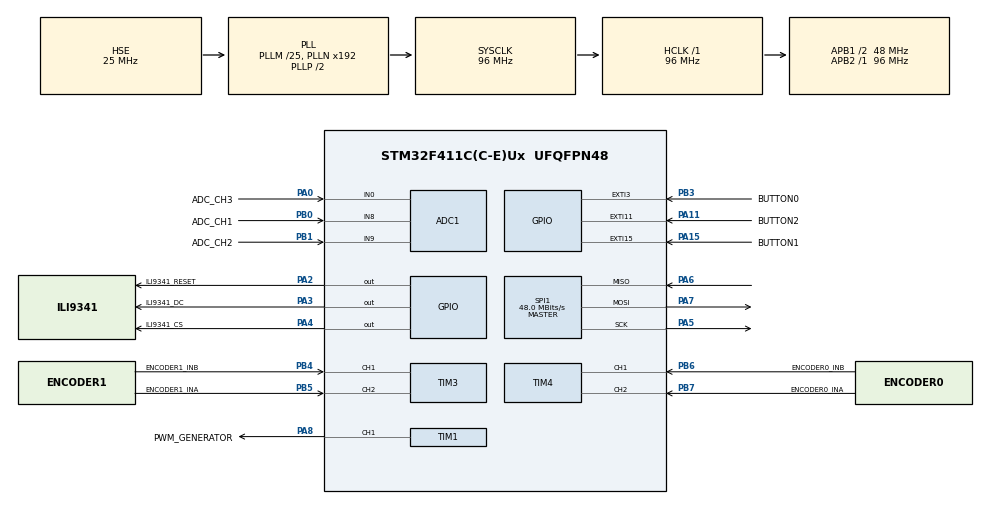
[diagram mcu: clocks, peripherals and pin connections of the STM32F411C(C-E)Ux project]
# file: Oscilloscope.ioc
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ADC1.Channel-1\#ChannelRegularConversion=ADC_CHANNEL_8
ADC1.Channel-2\#ChannelRegularConversion=ADC_CHANNEL_9
ADC1.Channel-3\#ChannelRegularConversion=ADC_CHANNEL_0
ADC1.ClockPrescaler=ADC_CLOCK_SYNC_PCLK_DIV4
ADC1.ContinuousConvMode=DISABLE
ADC1.NbrOfConversion=3
ADC1.NbrOfConversionFlag=1
ADC1.Rank-1\#ChannelRegularConversion=1
ADC1.Rank-2\#ChannelRegularConversion=2
ADC1.Rank-3\#ChannelRegularConversion=3
ADC1.SamplingTime-1\#ChannelRegularConversion=ADC_SAMPLETIME_3CYCLES
ADC1.SamplingTime-2\#ChannelRegularConversion=ADC_SAMPLETIME_3CYCLES
ADC1.SamplingTime-3\#ChannelRegularConversion=ADC_SAMPLETIME_3CYCLES
ADC1.ScanConvMode=ENABLE
ADC1.master=1
Dma.ADC1.0.Direction=DMA_PERIPH_TO_MEMORY
Dma.ADC1.0.FIFOMode=DMA_FIFOMODE_DISABLE
Dma.ADC1.0.Instance=DMA2_Stream0
Dma.ADC1.0.MemDataAlignment=DMA_MDATAALIGN_HALFWORD
Dma.ADC1.0.MemInc=DMA_MINC_ENABLE
Dma.ADC1.0.Mode=DMA_NORMAL
Dma.ADC1.0.PeriphDataAlignment=DMA_PDATAALIGN_HALFWORD
Dma.ADC1.0.PeriphInc=DMA_PINC_DISABLE
Dma.ADC1.0.Priority=DMA_PRIORITY_VERY_HIGH
Dma.Request0=ADC1
Mcu.Family=STM32F4
Mcu.Name=STM32F411C(C-E)Ux
Mcu.Package=UFQFPN48
NVIC.DMA2_Stream0_IRQn=true\:0\:0\:false\:false\:true\:false\:true\:true
NVIC.EXTI15_10_IRQn=true\:0\:0\:false\:false\:true\:true\:true\:true
NVIC.EXTI3_IRQn=true\:0\:0\:false\:false\:true\:true\:true\:true
NVIC.PriorityGroup=NVIC_PRIORITYGROUP_4
NVIC.TIM1_UP_TIM10_IRQn=true\:0\:0\:false\:false\:true\:true\:true\:true
PA0-WKUP.GPIO_Label=ADC_CH3
PA0-WKUP.Signal=ADCx_IN0
PA11.GPIO_Label=BUTTON2
PA11.GPIO_ModeDefaultEXTI=GPIO_MODE_IT_FALLING
PA11.GPIO_PuPd=GPIO_PULLUP
PA11.Signal=GPXTI11
PA15.GPIO_Label=BUTTON1
PA15.GPIO_ModeDefaultEXTI=GPIO_MODE_IT_FALLING
PA15.GPIO_PuPd=GPIO_PULLUP
PA15.Signal=GPXTI15
PA2.GPIO_Label=ILI9341_RESET
PA2.GPIO_Speed=GPIO_SPEED_FREQ_VERY_HIGH
PA2.Signal=GPIO_Output
PA3.GPIO_Label=ILI9341_DC
PA3.GPIO_Speed=GPIO_SPEED_FREQ_VERY_HIGH
PA3.Signal=GPIO_Output
PA4.GPIO_Label=ILI9341_CS
PA4.GPIO_Speed=GPIO_SPEED_FREQ_VERY_HIGH
PA4.Signal=GPIO_Output
PA5.Mode=Full_Duplex_Master
PA5.Signal=SPI1_SCK
PA6.Mode=Full_Duplex_Master
PA6.Signal=SPI1_MISO
PA7.Mode=Full_Duplex_Master
PA7.Signal=SPI1_MOSI
PA8.GPIO_Label=PWM_GENERATOR
PA8.GPIO_Speed=GPIO_SPEED_FREQ_VERY_HIGH
PA8.Signal=S_TIM1_CH1
PB0.GPIO_Label=ADC_CH1
PB0.Signal=ADCx_IN8
PB1.GPIO_Label=ADC_CH2
PB1.Signal=ADCx_IN9
PB3.GPIO_Label=BUTTON0
PB3.GPIO_ModeDefaultEXTI=GPIO_MODE_IT_FALLING
PB3.GPIO_PuPd=GPIO_PULLUP
PB3.Signal=GPXTI3
PB4.GPIO_Label=ENCODER1_INB
PB4.GPIO_PuPd=GPIO_PULLUP
PB4.Signal=S_TIM3_CH1
PB5.GPIO_Label=ENCODER1_INA
PB5.GPIO_PuPd=GPIO_PULLUP
PB5.Signal=S_TIM3_CH2
PB6.GPIO_Label=ENCODER0_INB
PB6.GPIO_PuPd=GPIO_PULLUP
PB6.Signal=S_TIM4_CH1
PB7.GPIO_Label=ENCODER0_INA
PB7.GPIO_PuPd=GPIO_PULLUP
PB7.Signal=S_TIM4_CH2
PC14-OSC32_IN.Mode=LSE-External-Oscillator
PC14-OSC32_IN.Signal=RCC_OSC32_IN
PC15-OSC32_OUT.Mode=LSE-External-Oscillator
PC15-OSC32_OUT.Signal=RCC_OSC32_OUT
PH0\ -\ OSC_IN.Mode=HSE-External-Oscillator
PH0\ -\ OSC_IN.Signal=RCC_OSC_IN
PH1\ -\ OSC_OUT.Mode=HSE-External-Oscillator
PH1\ -\ OSC_OUT.Signal=RCC_OSC_OUT
ProjectManager.HeapSize=0x200
ProjectManager.StackSize=0x400
ProjectManager.TargetToolchain=STM32CubeIDE
RCC.48MHZClocksFreq_Value=48000000
RCC.AHBFreq_Value=96000000
RCC.APB1CLKDivider=RCC_HCLK_DIV2
RCC.APB1Freq_Value=48000000
RCC.APB1TimFreq_Value=96000000
RCC.APB2Freq_Value=96000000
RCC.APB2TimFreq_Value=96000000
RCC.CortexFreq_Value=96000000
RCC.HCLKFreq_Value=96000000
RCC.HSE_VALUE=25000000
RCC.HSI_VALUE=16000000
RCC.PLLM=25
RCC.PLLSourceVirtual=RCC_PLLSOURCE_HSE
RCC.SYSCLKFreq_VALUE=96000000
RCC.SYSCLKSource=RCC_SYSCLKSOURCE_PLLCLK
RCC.VCOOutputFreq_Value=192000000
SH.ADCx_IN0.0=ADC1_IN0,IN0
SH.ADCx_IN8.0=ADC1_IN8,IN8
SH.ADCx_IN9.0=ADC1_IN9,IN9
SH.S_TIM1_CH1.0=TIM1_CH1,PWM Generation1 CH1
SH.S_TIM3_CH1.0=TIM3_CH1,Encoder_Interface
SH.S_TIM3_CH2.0=TIM3_CH2,Encoder_Interface
SH.S_TIM4_CH1.0=TIM4_CH1,Encoder_Interface
SH.S_TIM4_CH2.0=TIM4_CH2,Encoder_Interface
SPI1.CalculateBaudRate=48.0 MBits/s
SPI1.Direction=SPI_DIRECTION_2LINES
SPI1.Mode=SPI_MODE_MASTER
SPI1.VirtualType=VM_MASTER
TIM1.Channel-PWM\ Generation1\ CH1=TIM_CHANNEL_1
TIM1.Period=999
TIM1.Prescaler=95
TIM1.Pulse-PWM\ Generation1\ CH1=500
TIM10.Period=287
VP_TIM10_VS_ClockSourceINT.Mode=Enable_Timer
board=custom

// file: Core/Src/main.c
/* USER CODE BEGIN Header */
/**
  ******************************************************************************
  * @file           : main.c
  * @brief          : Main program body
  ******************************************************************************
  * @attention
  *
  * Copyright (c) 2023 STMicroelectronics.
  * All rights reserved.
  *
  * This software is licensed under terms that can be found in the LICENSE file
  * in the root directory of this software component.
  * If no LICENSE file comes with this software, it is provided AS-IS.
  *
  ******************************************************************************
  */
/* USER CODE END Header */
#include "main.h"

/* USER CODE BEGIN Includes */
#include <stdio.h>
#include "ili9341.h"
/* USER CODE END Includes */

/* USER CODE BEGIN PD */
#define DWT_CONTROL *(volatile unsigned long *)0xE0001000
#define SCB_DEMCR   *(volatile unsigned long *)0xE000EDFC
/* USER CODE END PD */

ADC_HandleTypeDef hadc1;
DMA_HandleTypeDef hdma_adc1;

SPI_HandleTypeDef hspi1;

TIM_HandleTypeDef htim1;
TIM_HandleTypeDef htim3;
TIM_HandleTypeDef htim4;
TIM_HandleTypeDef htim10;

/* USER CODE BEGIN PV */
ILI9341TypeDef display;

volatile uint16_t adc_data[3] = { 0 };
volatile uint32_t adc0_length = 0;
volatile uint32_t adc1_length = 0;
volatile uint8_t  adc0_filled = 0;
volatile uint8_t  adc1_filled = 1;
volatile uint8_t  adc_available = 1;
volatile uint8_t  adc_reset_cyccnt = 1;

volatile uint16_t adc_max[2]    = {  0 };
volatile uint16_t adc_min[2]    = { -1 };
volatile uint32_t adc_period[2] = {  0 };
volatile uint8_t  adc_period0_detected = 0;
volatile uint8_t  adc_period1_detected = 0;

uint32_t adc0_time[ADC_BUFFER_SIZE];
uint32_t adc1_time[ADC_BUFFER_SIZE];
uint16_t adc0[ADC_BUFFER_SIZE];
uint16_t adc1[ADC_BUFFER_SIZE];
uint8_t  adc_immediate = 1;

uint32_t xlim_us = 200;
uint32_t ylim_uV = 1000000;

uint16_t cursor0 = 120;
uint16_t cursor1 = 196;

uint16_t trigger0 = 70;
uint16_t trigger1 = 146;

uint8_t  trigger_mode   = 0;
uint16_t trigger0_value = 2048;
uint16_t trigger1_value = 2048;

uint8_t event_adc      = 0;
uint8_t event_axis     = 1;
uint8_t event_mode     = 1;
uint8_t event_cursor   = 1;
uint8_t event_trigger  = 1;
uint8_t event_channel  = 1;
uint8_t event_seconds  = 1;
uint8_t event_voltage  = 1;
uint8_t event_button0  = 0;
uint8_t event_button1  = 0;
uint8_t event_button2  = 0;
uint8_t event_selector = 1;
uint8_t event_trigger_mode = 1;
uint8_t event_trigger0_detected = 1;
uint8_t event_trigger1_detected = 1;
/* USER CODE END PV */

void SystemClock_Config(void);
static void MX_GPIO_Init(void);
static void MX_DMA_Init(void);
static void MX_SPI1_Init(void);
static void MX_TIM3_Init(void);
static void MX_TIM4_Init(void);
static void MX_ADC1_Init(void);
static void MX_TIM1_Init(void);
static void MX_TIM10_Init(void);
/* USER CODE BEGIN PFP */
static void drawAxis(ILI9341TypeDef *display);
static void clearCursor(ILI9341TypeDef *display, uint16_t pos);
static void clearTrigger(ILI9341TypeDef *display, uint16_t pos);
static void drawCursor(ILI9341TypeDef *display, uint16_t pos, char *name, uint16_t color);
static void drawTrigger(ILI9341TypeDef *display, uint16_t pos, char *name, uint16_t color);
static void drawSignal(ILI9341TypeDef *display, uint32_t *adc_time, uint16_t *adc0, uint32_t adc_length, uint16_t pixel_dirty[280][2], uint16_t cursor, uint16_t color);
static void clearSignal(ILI9341TypeDef *display, uint16_t pixel_dirty[280][2]);
static void drawSignalParam(ILI9341TypeDef *display, char *string, size_t size, uint16_t adc_max, uint16_t adc_min, uint32_t adc_period);
/* USER CODE END PFP */

int main(void)
{

  /* MCU Configuration--------------------------------------------------------*/

  /* Reset of all peripherals, Initializes the Flash interface and the Systick. */
  HAL_Init();

  /* Configure the system clock */
  SystemClock_Config();

  /* Initialize all configured peripherals */
  MX_GPIO_Init();
  MX_DMA_Init();
  MX_SPI1_Init();
  MX_TIM3_Init();
  MX_TIM4_Init();
  MX_ADC1_Init();
  MX_TIM1_Init();
  MX_TIM10_Init();
  /* USER CODE BEGIN 2 */

  // For DWT->CYCCNT ...
  SCB_DEMCR |= CoreDebug_DEMCR_TRCENA_Msk;
  DWT_CONTROL |= DWT_CTRL_CYCCNTENA_Msk;

  // Display init
  display.spi             = &hspi1;
  display.cs_gpio_port    = ILI9341_CS_GPIO_Port;
  display.dc_gpio_port    = ILI9341_DC_GPIO_Port;
  display.reset_gpio_port = ILI9341_RESET_GPIO_Port;
  display.cs_pin          = ILI9341_CS_Pin;
  display.dc_pin          = ILI9341_DC_Pin;
  display.reset_pin       = ILI9341_RESET_Pin;
  display.width           = 320;
  display.height          = 240;
  display.orientation     = ILI9341_ORIENTATION_ROTATE_RIGHT;

  ILI9341_UNSELECT(&display);
  ILI9341_Init(&display);

  // Local vars
  char string[255];

  uint8_t  menu_extended         = 0;
  uint8_t  menu_channel0_enabled = 1;
  uint8_t  menu_channel1_enabled = 0;
  int8_t   menu_selected_item    = 2;
  uint16_t menu_selector_x       = 96;
  uint16_t menu_selector_y       = 3;

  uint8_t  mode = 0;
  uint8_t  mode_seconds = 5;
  uint8_t  mode_voltage = 6;

  uint16_t encoder0_prev = 0;
  uint16_t encoder1_prev = 0;

  uint8_t  frames = 0;
  uint32_t frames_ticks = HAL_GetTick();

  uint16_t pixel_dirty0[280][2];
  uint16_t pixel_dirty1[280][2];
  for (uint16_t i = 0; i < 280; i++) {
	  pixel_dirty0[i][0] = 0;
	  pixel_dirty0[i][1] = 0;
	  pixel_dirty1[i][0] = 0;
	  pixel_dirty1[i][1] = 0;
  }

  // Dispaly freq. (for debug)
  ILI9341_FillScreen(&display, ILI9341_BLACK);

  snprintf(string, 255, "Oscilloscope");
  ILI9341_WriteString(&display, 0, 18 * 0, string, Font_11x18, ILI9341_BLACK, ILI9341_WHITE);

  snprintf(string, 255, "SYCLK = %ldMHz", HAL_RCC_GetSysClockFreq()/1000000);
  ILI9341_WriteString(&display, 0, 18 * 1, string, Font_11x18, ILI9341_BLACK, ILI9341_WHITE);

  snprintf(string, 255, "HCLK  = %ldMHz", HAL_RCC_GetHCLKFreq()/1000000);
  ILI9341_WriteString(&display, 0, 18 * 2, string, Font_11x18, ILI9341_BLACK, ILI9341_WHITE);

  snprintf(string, 255, "APB1  = %ldMHz", HAL_RCC_GetPCLK1Freq()/1000000);
  ILI9341_WriteString(&display, 0, 18 * 3, string, Font_11x18, ILI9341_BLACK, ILI9341_WHITE);

  snprintf(string, 255, "APB2  = %ldMHz", HAL_RCC_GetPCLK2Freq()/1000000);
  ILI9341_WriteString(&display, 0, 18 * 4, string, Font_11x18, ILI9341_BLACK, ILI9341_WHITE);

  HAL_Delay(1000);
  ILI9341_FillScreen(&display, ILI9341_BLACK);

  adc_reset_cyccnt = 1;
  if (adc_immediate) {
	  // The ADC starts immediately after the previous measurement is handled
	  HAL_ADC_Start_DMA(&hadc1, (uint32_t*)&adc_data, 2);
  } else {
	  // ADC starts by timer
	  HAL_TIM_Base_Start_IT(&htim10);
  }

  /* USER CODE END 2 */

  /* Infinite loop */
  /* USER CODE BEGIN WHILE */
  while (1)
  {
	// Draw axis
	if (event_axis) {
		drawAxis(&display);
		event_axis = 0;
	}

	uint8_t local_event_adc = 0;
	if (event_adc) {
		local_event_adc = 1;
		event_adc = 0;
	}

	// Draw signals
	if (local_event_adc) {

		if (menu_channel0_enabled)
			drawSignal(&display, adc0_time, adc0, adc0_length, pixel_dirty0, cursor0, ILI9341_YELLOW);

		if (menu_channel1_enabled)
			drawSignal(&display, adc1_time, adc1, adc1_length, pixel_dirty1, cursor1, ILI9341_CYAN);

	}

	// Draw FPS
	if (frames > 60) {
		snprintf(string, 255, "FPS: %5i", (int)(1000.0f / ((float)(HAL_GetTick() - frames_ticks) / 60.0f)));
		ILI9341_WriteString(&display, 225, 5, string, Font_7x10, ILI9341_WHITE, ILI9341_BLACK);

		frames = 0;
		frames_ticks = HAL_GetTick();
	}

	// Handle button events
	if (event_button0) {

		if (!menu_extended) {
			ILI9341_Rectangle(&display, menu_selector_x, menu_selector_y, 38, 13, ILI9341_BLACK);

			menu_selected_item++;

			if (menu_selected_item > 3)
				menu_selected_item = 2;

			menu_selector_x = 20 + 38 * menu_selected_item;
			menu_selector_y = 3;

			event_selector = 1;
		}

		event_button0 = 0;
	}

	if (event_button1) {
		menu_extended = !menu_extended;

		if (!menu_extended) {
			ILI9341_Rectangle(&display, menu_selector_x, menu_selector_y, 38, 13, ILI9341_BLACK);

			menu_selected_item = 2;

			menu_selector_x = 20 + 38 * menu_selected_item;
			menu_selector_y = 3;

			mode = 0;
			event_selector = 1;
		} else
			mode = 1;

		event_mode = 1;
		event_button1 = 0;
	}

	if (event_button2) {
		if (menu_selected_item == 2) {
			menu_channel0_enabled = !menu_channel0_enabled;

			if (!menu_channel0_enabled)
				clearSignal(&display, pixel_dirty0);
		}

		if (menu_selected_item == 3) {
			menu_channel1_enabled = !menu_channel1_enabled;

			if (!menu_channel1_enabled)
				clearSignal(&display, pixel_dirty1);
		}

		event_cursor  = 1;
		event_trigger = 1;
		event_channel = 1;
		event_button2 = 0;
	}

	// Handle UI redraw channel events
	if (event_channel) {
		uint16_t channel0_color = menu_channel0_enabled ? ILI9341_YELLOW  : ILI9341_COLOR565(60, 60, 0);
		uint16_t channel1_color = menu_channel1_enabled ? ILI9341_CYAN    : ILI9341_COLOR565(0, 60, 60);

		ILI9341_WriteString(&display, 110 - 12, 5, " CH1 ", Font_7x10, ILI9341_BLACK, channel0_color);
		ILI9341_WriteString(&display, 148 - 12, 5, " CH2 ", Font_7x10, ILI9341_BLACK, channel1_color);

		event_channel = 0;
	}

	// Handle encoder0
	int32_t encoder0_curr = __HAL_TIM_GET_COUNTER(&htim3);
	encoder0_curr = 32767 - ((encoder0_curr - 1) & 0xFFFF) / 2;

	if(encoder0_curr != encoder0_prev) {
		int32_t delta = encoder0_curr - encoder0_prev;

		if (delta > 10)
			delta = -1;

		if (delta < -10)
			delta = 1;

		if (menu_extended) {
			ILI9341_Rectangle(&display, menu_selector_x, menu_selector_y, 38, 13, ILI9341_BLACK);

			menu_selected_item += delta;

			if (menu_selected_item < 0)
				menu_selected_item = 0;

			if (menu_selected_item > 5)
				menu_selected_item = 5;

			if (menu_selected_item < 4) {
				menu_selector_x = 20 + 38 * menu_selected_item;
				menu_selector_y = 3;
			} else {
				menu_selector_x = 20 + 38 * (menu_selected_item - 4);
				menu_selector_y = 223;
			}

			event_selector = 1;

		} else {

			if (menu_selected_item == 2) {
				clearCursor(&display, cursor0);
				cursor0 += delta;

				if (cursor0 < 20)
					cursor0 = 20;

				if (cursor0 > 220)
					cursor0 = 220;
			}

			if (menu_selected_item == 3) {
				clearCursor(&display, cursor1);
				cursor1 += delta;

				if (cursor1 < 20)
					cursor1 = 20;

				if (cursor1 > 220)
					cursor1 = 220;
			}

		}

		event_cursor = 1;
		event_trigger = 1;
		encoder0_prev = encoder0_curr;
	}

	// Handle UI redraw cursor events
	if (event_cursor) {
		clearCursor(&display, cursor0);
		clearCursor(&display, cursor1);

		if (menu_channel0_enabled)
			drawCursor(&display, cursor0, "C1", ILI9341_YELLOW);

		if (menu_channel1_enabled)
			drawCursor(&display, cursor1, "C2", ILI9341_CYAN);

		event_cursor = 0;
	}

	// Handle encoder1
	int32_t encoder1_curr = __HAL_TIM_GET_COUNTER(&htim4);
	encoder1_curr = 32767 - ((encoder1_curr - 1) & 0xFFFF) / 2;

	if(encoder1_curr != encoder1_prev || event_trigger) {
		int32_t delta = encoder1_curr - encoder1_prev;

		if (delta > 10)
			delta = -1;

		if (delta < -10)
			delta = 1;

		if (menu_extended) {

			if (menu_selected_item == 1) {
				trigger_mode += delta;

				if (trigger_mode < 0)
					trigger_mode = 0;

				if (trigger_mode > 1)
					trigger_mode = 1;

				event_trigger_mode = 1;
			}

			if (menu_selected_item == 4) {
				mode_seconds += delta;

				if (mode_seconds < 0)
					mode_seconds = 0;

				if (mode_seconds > 16)
					mode_seconds = 16;

				uint32_t list_seconds[17] = {
					5,
					10,
					20,
					50,
					100,
					200,
					500,
					1000,
					2000,
					5000,
					10000,
					20000,
					50000,
					100000,
					200000,
					500000,
					1000000
				};

				xlim_us = list_seconds[mode_seconds];

				if (adc_immediate) {
					HAL_TIM_Base_Stop_IT(&htim10);
					adc_available = 1;
				}

				HAL_ADC_Stop_DMA(&hadc1);

				adc_reset_cyccnt = 1;
				adc0_length = 0;
				adc1_length = 0;
				adc_max[0] = 0;
				adc_max[1] = 0;
				adc_min[0] = -1;
				adc_min[1] = -1;
				adc_period[0] = 0;
				adc_period[1] = 0;
				adc_period0_detected = 0;
				adc_period1_detected = 0;
				event_trigger0_detected = 0;
				event_trigger1_detected = 0;

				if (menu_channel0_enabled)
					adc0_filled = 0;
				else
					adc0_filled = 1;

				if (menu_channel1_enabled)
					adc1_filled = 0;
				else
					adc1_filled = 1;

				adc_immediate = xlim_us <= 500;

				if (!adc_immediate) {
					uint32_t list_timer_settings[17][2] = {
					//  { Prescaler, Period }
						{     0,   0 },
						{     0,   0 },
						{     0,   0 },
						{     0,   0 },
						{     0,   0 },
						{     0,   0 },
						{     0,   0 },
						{    40, 100 },
						{    81, 100 },
						{   205, 100 },
						{   410, 100 },
						{   822, 100 },
						{  2056, 100 },
						{  4113, 100 },
						{  8228, 100 },
						{ 20570, 100 },
						{ 41142, 100 }
					};

					htim10.Init.Prescaler = list_timer_settings[mode_seconds][0];
					htim10.Init.Period    = list_timer_settings[mode_seconds][1];

					if (HAL_TIM_Base_Init(&htim10) != HAL_OK)
						Error_Handler();

					HAL_TIM_Base_Start_IT(&htim10);
				} else
					HAL_ADC_Start_DMA(&hadc1, (uint32_t*)&adc_data, 2);

				local_event_adc = 0;
				event_seconds = 1;
			}

			if (menu_selected_item == 5) {
				mode_voltage += delta;

				if (mode_voltage < 0)
					mode_voltage = 0;

				if (mode_voltage > 9)
					mode_voltage = 9;

				uint32_t list_voltage[10] = {
					10000,
					20000,
					50000,
					100000,
					200000,
					500000,
					1000000,
					2000000,
					5000000,
					10000000
				};

				ylim_uV = list_voltage[mode_voltage];

				event_voltage = 1;
			}

		} else {

			if (menu_selected_item == 2) {
				clearTrigger(&display, trigger0);
				trigger0 += delta;

				if (trigger0 < 20)
					trigger0 = 20;

				if (trigger0 > 220)
					trigger0 = 220;

				if (trigger0 > cursor0)
					trigger0 = cursor0;

				float uV = -((float)(ylim_uV) * ((8.0f * (trigger0 - cursor0)) / 200.0f));
				trigger0_value = uV * 4096.0f / 3300000.0f;
			}

			if (menu_selected_item == 3) {
				clearTrigger(&display, trigger1);
				trigger1 += delta;

				if (trigger1 < 20)
					trigger1 = 20;

				if (trigger1 > 220)
					trigger1 = 220;

				if (trigger1 > cursor1)
					trigger1 = cursor1;

				float uV = -((float)(ylim_uV) * ((8.0f * (trigger1 - cursor1)) / 200.0f));
				trigger1_value = uV * 4096.0f / 3300000.0f;
			}

		}

		event_trigger = 1;
		encoder1_prev = encoder1_curr;
	}

	// Handle UI redraw trigger events
	if (event_trigger) {
		clearTrigger(&display, trigger0);
		clearTrigger(&display, trigger1);

		if (menu_channel0_enabled)
			drawTrigger(&display, trigger0, "T1", ILI9341_YELLOW);

		if (menu_channel1_enabled)
			drawTrigger(&display, trigger1, "T2", ILI9341_CYAN);

		event_trigger = 0;
	}

	// Handle UI redraw selector events
	if (event_selector) {
		ILI9341_Rectangle(&display, menu_selector_x, menu_selector_y, 38, 13, ILI9341_WHITE);
		event_selector = 0;
	}

	// Handle UI redraw mode events
	if (event_mode) {
		if (mode == 0)
			ILI9341_WriteString(&display, 22, 5, " RUN ", Font_7x10, ILI9341_BLACK, ILI9341_GREEN);

		if (mode == 1)
			ILI9341_WriteString(&display, 22, 5, "MENU:", Font_7x10, ILI9341_BLACK, ILI9341_BLUE);

		if (mode == 2)
			ILI9341_WriteString(&display, 22, 5, "HOLD:", Font_7x10, ILI9341_BLACK, ILI9341_YELLOW);

		event_mode = 0;
	}

	// Handle UI redraw trigger mode events
	if (event_trigger_mode) {
		ILI9341_FillRectangle(&display, 61,  5, 33, 10, ILI9341_BLACK);
		ILI9341_FillRectangle(&display, 61, 14, 11, 1, ILI9341_WHITE);
		ILI9341_FillRectangle(&display, 72,  5, 11, 1, ILI9341_WHITE);
		ILI9341_FillRectangle(&display, 83, 14, 11, 1, ILI9341_WHITE);
		ILI9341_FillRectangle(&display, 72,  5, 1, 10, ILI9341_WHITE);
		ILI9341_FillRectangle(&display, 82,  5, 1, 10, ILI9341_WHITE);

		if (trigger_mode == 0) {
			for (uint8_t i = 0; i < 4; i++) {
				for (uint8_t j = i; j < (7 - i); j++)
					ILI9341_DrawPixel(&display, 69 + j, 11 - i, ILI9341_GREEN);
			}
		} else {
			for (uint8_t i = 0; i < 4; i++) {
			  for (uint8_t j = i; j < (7 - i); j++)
				  ILI9341_DrawPixel(&display, 79 + j, 8 + i, ILI9341_RED);
			}
		}

		event_trigger_mode = 0;
	}

	// Handle UI redraw seconds events
	if (event_seconds) {
		if (xlim_us >= 1000000)
			snprintf(string, 255, "%3li s",  xlim_us / 1000000);
		else if (xlim_us >= 1000)
			snprintf(string, 255, "%3lims", xlim_us / 1000);
		else
			snprintf(string, 255, "%3lius", xlim_us);

		ILI9341_WriteString(&display, 22, 225, string, Font_7x10, ILI9341_BLACK, ILI9341_WHITE);

		event_seconds = 0;
	}

	// Handle UI redraw voltage events
	if (event_voltage) {
		if (ylim_uV >= 1000000)
			snprintf(string, 255, "%3li V",  ylim_uV / 1000000);
		else if (ylim_uV >= 1000)
			snprintf(string, 255, "%3limV", ylim_uV / 1000);
		else
			snprintf(string, 255, "%3liuV", ylim_uV);

		ILI9341_WriteString(&display, 60, 225, string, Font_7x10, ILI9341_BLACK, ILI9341_WHITE);

		event_voltage = 0;
	}

	snprintf(string, 255, "T:%i%i", event_trigger0_detected, event_trigger1_detected);
	ILI9341_WriteString(&display, 195, 5, string, Font_7x10, ILI9341_WHITE, ILI9341_BLACK);

	if (menu_channel1_enabled && menu_selected_item == 3) {
		//if (adc_period1_detected)
			drawSignalParam(&display, string, 255, adc_max[1], adc_min[1], adc_period[1]);
	} else if (menu_channel0_enabled) {
		//if (adc_period0_detected)
			drawSignalParam(&display, string, 255, adc_max[0], adc_min[0], adc_period[0]);
	}

	// Restart ADC ...
	if (local_event_adc) {
		adc_reset_cyccnt = 1;
		adc0_length = 0;
		adc1_length = 0;
		adc_max[0] = 0;
		adc_max[1] = 0;
		adc_min[0] = -1;
		adc_min[1] = -1;
		adc_period[0] = 0;
		adc_period[1] = 0;
		adc_period0_detected = 0;
		adc_period1_detected = 0;
		event_trigger0_detected = 0;
		event_trigger1_detected = 0;

		if (menu_channel0_enabled)
			adc0_filled = 0;
		else
			adc0_filled = 1;

		if (menu_channel1_enabled)
			adc1_filled = 0;
		else
			adc1_filled = 1;

		if (adc_immediate) {
			// The ADC starts immediately after the previous measurement is handled
			HAL_ADC_Start_DMA(&hadc1, (uint32_t*)&adc_data, 2);
		} else {
			// ADC starts by timer
			HAL_TIM_Base_Start_IT(&htim10);
		}

		local_event_adc = 0;
	}

	frames++;

    /* USER CODE END WHILE */

  }
}

void SystemClock_Config(void)
{
  RCC_OscInitTypeDef RCC_OscInitStruct = {0};
  RCC_ClkInitTypeDef RCC_ClkInitStruct = {0};

  /** Configure the main internal regulator output voltage
  */
  __HAL_RCC_PWR_CLK_ENABLE();
  __HAL_PWR_VOLTAGESCALING_CONFIG(PWR_REGULATOR_VOLTAGE_SCALE1);

  /** Initializes the RCC Oscillators according to the specified parameters
  * in the RCC_OscInitTypeDef structure.
  */
  RCC_OscInitStruct.OscillatorType = RCC_OSCILLATORTYPE_HSE;
  RCC_OscInitStruct.HSEState = RCC_HSE_ON;
  RCC_OscInitStruct.PLL.PLLState = RCC_PLL_ON;
  RCC_OscInitStruct.PLL.PLLSource = RCC_PLLSOURCE_HSE;
  RCC_OscInitStruct.PLL.PLLM = 25;
  RCC_OscInitStruct.PLL.PLLN = 192;
  RCC_OscInitStruct.PLL.PLLP = RCC_PLLP_DIV2;
  RCC_OscInitStruct.PLL.PLLQ = 4;
  if (HAL_RCC_OscConfig(&RCC_OscInitStruct) != HAL_OK)
  {
    Error_Handler();
  }

  /** Initializes the CPU, AHB and APB buses clocks
  */
  RCC_ClkInitStruct.ClockType = RCC_CLOCKTYPE_HCLK|RCC_CLOCKTYPE_SYSCLK
                              |RCC_CLOCKTYPE_PCLK1|RCC_CLOCKTYPE_PCLK2;
  RCC_ClkInitStruct.SYSCLKSource = RCC_SYSCLKSOURCE_PLLCLK;
  RCC_ClkInitStruct.AHBCLKDivider = RCC_SYSCLK_DIV1;
  RCC_ClkInitStruct.APB1CLKDivider = RCC_HCLK_DIV2;
  RCC_ClkInitStruct.APB2CLKDivider = RCC_HCLK_DIV1;

  if (HAL_RCC_ClockConfig(&RCC_ClkInitStruct, FLASH_LATENCY_3) != HAL_OK)
  {
    Error_Handler();
  }
}

static void MX_ADC1_Init(void)
{

  ADC_ChannelConfTypeDef sConfig = {0};

  /** Configure the global features of the ADC (Clock, Resolution, Data Alignment and number of conversion)
  */
  hadc1.Instance = ADC1;
  hadc1.Init.ClockPrescaler = ADC_CLOCK_SYNC_PCLK_DIV4;
  hadc1.Init.Resolution = ADC_RESOLUTION_12B;
  hadc1.Init.ScanConvMode = ENABLE;
  hadc1.Init.ContinuousConvMode = DISABLE;
  hadc1.Init.DiscontinuousConvMode = DISABLE;
  hadc1.Init.ExternalTrigConvEdge = ADC_EXTERNALTRIGCONVEDGE_NONE;
  hadc1.Init.ExternalTrigConv = ADC_SOFTWARE_START;
  hadc1.Init.DataAlign = ADC_DATAALIGN_RIGHT;
  hadc1.Init.NbrOfConversion = 3;
  hadc1.Init.DMAContinuousRequests = DISABLE;
  hadc1.Init.EOCSelection = ADC_EOC_SINGLE_CONV;
  if (HAL_ADC_Init(&hadc1) != HAL_OK)
  {
    Error_Handler();
  }

  /** Configure for the selected ADC regular channel its corresponding rank in the sequencer and its sample time.
  */
  sConfig.Channel = ADC_CHANNEL_8;
  sConfig.Rank = 1;
  sConfig.SamplingTime = ADC_SAMPLETIME_3CYCLES;
  if (HAL_ADC_ConfigChannel(&hadc1, &sConfig) != HAL_OK)
  {
    Error_Handler();
  }

  /** Configure for the selected ADC regular channel its corresponding rank in the sequencer and its sample time.
  */
  sConfig.Channel = ADC_CHANNEL_9;
  sConfig.Rank = 2;
  if (HAL_ADC_ConfigChannel(&hadc1, &sConfig) != HAL_OK)
  {
    Error_Handler();
  }

  /** Configure for the selected ADC regular channel its corresponding rank in the sequencer and its sample time.
  */
  sConfig.Channel = ADC_CHANNEL_0;
  sConfig.Rank = 3;
  if (HAL_ADC_ConfigChannel(&hadc1, &sConfig) != HAL_OK)
  {
    Error_Handler();
  }

}

static void MX_SPI1_Init(void)
{

  /* SPI1 parameter configuration*/
  hspi1.Instance = SPI1;
  hspi1.Init.Mode = SPI_MODE_MASTER;
  hspi1.Init.Direction = SPI_DIRECTION_2LINES;
  hspi1.Init.DataSize = SPI_DATASIZE_8BIT;
  hspi1.Init.CLKPolarity = SPI_POLARITY_LOW;
  hspi1.Init.CLKPhase = SPI_PHASE_1EDGE;
  hspi1.Init.NSS = SPI_NSS_SOFT;
  hspi1.Init.BaudRatePrescaler = SPI_BAUDRATEPRESCALER_2;
  hspi1.Init.FirstBit = SPI_FIRSTBIT_MSB;
  hspi1.Init.TIMode = SPI_TIMODE_DISABLE;
  hspi1.Init.CRCCalculation = SPI_CRCCALCULATION_DISABLE;
  hspi1.Init.CRCPolynomial = 10;
  if (HAL_SPI_Init(&hspi1) != HAL_OK)
  {
    Error_Handler();
  }

}

static void MX_TIM1_Init(void)
{

  TIM_MasterConfigTypeDef sMasterConfig = {0};
  TIM_OC_InitTypeDef sConfigOC = {0};
  TIM_BreakDeadTimeConfigTypeDef sBreakDeadTimeConfig = {0};

  /* USER CODE BEGIN TIM1_Init 1 */

  // Signal [Hz] = (1 / (Period * (1 / (96000000 / Prescaler))))
  //
  // 100Hz:
  //   htim1.Init.Prescaler = 95;
  //   htim1.Init.Period = 9999;
  //   sConfigOC.Pulse = 5000;
  //
  // 1kHz:
  //   htim1.Init.Prescaler = 95;
  //   htim1.Init.Period = 999;
  //   sConfigOC.Pulse = 500;
  //
  // 10kHz:
  //   htim1.Init.Prescaler = 95;
  //   htim1.Init.Period = 99;
  //   sConfigOC.Pulse = 50;

  /* USER CODE END TIM1_Init 1 */
  htim1.Instance = TIM1;
  htim1.Init.Prescaler = 95;
  htim1.Init.CounterMode = TIM_COUNTERMODE_UP;
  htim1.Init.Period = 999;
  htim1.Init.ClockDivision = TIM_CLOCKDIVISION_DIV1;
  htim1.Init.RepetitionCounter = 0;
  htim1.Init.AutoReloadPreload = TIM_AUTORELOAD_PRELOAD_DISABLE;
  if (HAL_TIM_PWM_Init(&htim1) != HAL_OK)
  {
    Error_Handler();
  }
  sMasterConfig.MasterOutputTrigger = TIM_TRGO_RESET;
  sMasterConfig.MasterSlaveMode = TIM_MASTERSLAVEMODE_DISABLE;
  if (HAL_TIMEx_MasterConfigSynchronization(&htim1, &sMasterConfig) != HAL_OK)
  {
    Error_Handler();
  }
  sConfigOC.OCMode = TIM_OCMODE_PWM1;
  sConfigOC.Pulse = 500;
  sConfigOC.OCPolarity = TIM_OCPOLARITY_HIGH;
  sConfigOC.OCNPolarity = TIM_OCNPOLARITY_HIGH;
  sConfigOC.OCFastMode = TIM_OCFAST_DISABLE;
  sConfigOC.OCIdleState = TIM_OCIDLESTATE_RESET;
  sConfigOC.OCNIdleState = TIM_OCNIDLESTATE_RESET;
  if (HAL_TIM_PWM_ConfigChannel(&htim1, &sConfigOC, TIM_CHANNEL_1) != HAL_OK)
  {
    Error_Handler();
  }
  sBreakDeadTimeConfig.OffStateRunMode = TIM_OSSR_DISABLE;
  sBreakDeadTimeConfig.OffStateIDLEMode = TIM_OSSI_DISABLE;
  sBreakDeadTimeConfig.LockLevel = TIM_LOCKLEVEL_OFF;
  sBreakDeadTimeConfig.DeadTime = 0;
  sBreakDeadTimeConfig.BreakState = TIM_BREAK_DISABLE;
  sBreakDeadTimeConfig.BreakPolarity = TIM_BREAKPOLARITY_HIGH;
  sBreakDeadTimeConfig.AutomaticOutput = TIM_AUTOMATICOUTPUT_DISABLE;
  if (HAL_TIMEx_ConfigBreakDeadTime(&htim1, &sBreakDeadTimeConfig) != HAL_OK)
  {
    Error_Handler();
  }
  /* USER CODE BEGIN TIM1_Init 2 */
  HAL_TIM_PWM_Start(&htim1, TIM_CHANNEL_1);
  /* USER CODE END TIM1_Init 2 */
  HAL_TIM_MspPostInit(&htim1);

}

static void MX_TIM3_Init(void)
{

  TIM_Encoder_InitTypeDef sConfig = {0};
  TIM_MasterConfigTypeDef sMasterConfig = {0};

  htim3.Instance = TIM3;
  htim3.Init.Prescaler = 0;
  htim3.Init.CounterMode = TIM_COUNTERMODE_UP;
  htim3.Init.Period = 65535;
  htim3.Init.ClockDivision = TIM_CLOCKDIVISION_DIV1;
  htim3.Init.AutoReloadPreload = TIM_AUTORELOAD_PRELOAD_DISABLE;
  sConfig.EncoderMode = TIM_ENCODERMODE_TI1;
  sConfig.IC1Polarity = TIM_ICPOLARITY_RISING;
  sConfig.IC1Selection = TIM_ICSELECTION_DIRECTTI;
  sConfig.IC1Prescaler = TIM_ICPSC_DIV1;
  sConfig.IC1Filter = 0;
  sConfig.IC2Polarity = TIM_ICPOLARITY_RISING;
  sConfig.IC2Selection = TIM_ICSELECTION_DIRECTTI;
  sConfig.IC2Prescaler = TIM_ICPSC_DIV1;
  sConfig.IC2Filter = 0;
  if (HAL_TIM_Encoder_Init(&htim3, &sConfig) != HAL_OK)
  {
    Error_Handler();
  }
  sMasterConfig.MasterOutputTrigger = TIM_TRGO_RESET;
  sMasterConfig.MasterSlaveMode = TIM_MASTERSLAVEMODE_DISABLE;
  if (HAL_TIMEx_MasterConfigSynchronization(&htim3, &sMasterConfig) != HAL_OK)
  {
    Error_Handler();
  }
  /* USER CODE BEGIN TIM3_Init 2 */
  HAL_TIM_Encoder_Start(&htim3, TIM_CHANNEL_ALL);
  /* USER CODE END TIM3_Init 2 */

}

static void MX_TIM4_Init(void)
{

  TIM_Encoder_InitTypeDef sConfig = {0};
  TIM_MasterConfigTypeDef sMasterConfig = {0};

  htim4.Instance = TIM4;
  htim4.Init.Prescaler = 0;
  htim4.Init.CounterMode = TIM_COUNTERMODE_UP;
  htim4.Init.Period = 65535;
  htim4.Init.ClockDivision = TIM_CLOCKDIVISION_DIV1;
  htim4.Init.AutoReloadPreload = TIM_AUTORELOAD_PRELOAD_DISABLE;
  sConfig.EncoderMode = TIM_ENCODERMODE_TI1;
  sConfig.IC1Polarity = TIM_ICPOLARITY_RISING;
  sConfig.IC1Selection = TIM_ICSELECTION_DIRECTTI;
  sConfig.IC1Prescaler = TIM_ICPSC_DIV1;
  sConfig.IC1Filter = 0;
  sConfig.IC2Polarity = TIM_ICPOLARITY_RISING;
  sConfig.IC2Selection = TIM_ICSELECTION_DIRECTTI;
  sConfig.IC2Prescaler = TIM_ICPSC_DIV1;
  sConfig.IC2Filter = 0;
  if (HAL_TIM_Encoder_Init(&htim4, &sConfig) != HAL_OK)
  {
    Error_Handler();
  }
  sMasterConfig.MasterOutputTrigger = TIM_TRGO_RESET;
  sMasterConfig.MasterSlaveMode = TIM_MASTERSLAVEMODE_DISABLE;
  if (HAL_TIMEx_MasterConfigSynchronization(&htim4, &sMasterConfig) != HAL_OK)
  {
    Error_Handler();
  }
  /* USER CODE BEGIN TIM4_Init 2 */
  HAL_TIM_Encoder_Start(&htim4, TIM_CHANNEL_ALL);
  /* USER CODE END TIM4_Init 2 */

}

static void MX_TIM10_Init(void)
{

  htim10.Instance = TIM10;
  htim10.Init.Prescaler = 40;
  htim10.Init.CounterMode = TIM_COUNTERMODE_UP;
  htim10.Init.Period = 100;
  htim10.Init.ClockDivision = TIM_CLOCKDIVISION_DIV1;
  htim10.Init.AutoReloadPreload = TIM_AUTORELOAD_PRELOAD_DISABLE;
  if (HAL_TIM_Base_Init(&htim10) != HAL_OK)
  {
    Error_Handler();
  }

}

static void MX_DMA_Init(void)
{

  /* DMA controller clock enable */
  __HAL_RCC_DMA2_CLK_ENABLE();

  /* DMA interrupt init */
  /* DMA2_Stream0_IRQn interrupt configuration */
  HAL_NVIC_SetPriority(DMA2_Stream0_IRQn, 0, 0);
  HAL_NVIC_EnableIRQ(DMA2_Stream0_IRQn);

}

static void MX_GPIO_Init(void)
{
  GPIO_InitTypeDef GPIO_InitStruct = {0};

  /* GPIO Ports Clock Enable */
  __HAL_RCC_GPIOC_CLK_ENABLE();
  __HAL_RCC_GPIOH_CLK_ENABLE();
  __HAL_RCC_GPIOA_CLK_ENABLE();
  __HAL_RCC_GPIOB_CLK_ENABLE();

  /*Configure GPIO pin Output Level */
  HAL_GPIO_WritePin(GPIOA, ILI9341_RESET_Pin|ILI9341_DC_Pin|ILI9341_CS_Pin, GPIO_PIN_RESET);

  /*Configure GPIO pins : ILI9341_RESET_Pin ILI9341_DC_Pin ILI9341_CS_Pin */
  GPIO_InitStruct.Pin = ILI9341_RESET_Pin|ILI9341_DC_Pin|ILI9341_CS_Pin;
  GPIO_InitStruct.Mode = GPIO_MODE_OUTPUT_PP;
  GPIO_InitStruct.Pull = GPIO_NOPULL;
  GPIO_InitStruct.Speed = GPIO_SPEED_FREQ_VERY_HIGH;
  HAL_GPIO_Init(GPIOA, &GPIO_InitStruct);

  /*Configure GPIO pins : BUTTON2_Pin BUTTON1_Pin */
  GPIO_InitStruct.Pin = BUTTON2_Pin|BUTTON1_Pin;
  GPIO_InitStruct.Mode = GPIO_MODE_IT_FALLING;
  GPIO_InitStruct.Pull = GPIO_PULLUP;
  HAL_GPIO_Init(GPIOA, &GPIO_InitStruct);

  /*Configure GPIO pin : BUTTON0_Pin */
  GPIO_InitStruct.Pin = BUTTON0_Pin;
  GPIO_InitStruct.Mode = GPIO_MODE_IT_FALLING;
  GPIO_InitStruct.Pull = GPIO_PULLUP;
  HAL_GPIO_Init(BUTTON0_GPIO_Port, &GPIO_InitStruct);

  /* EXTI interrupt init*/
  HAL_NVIC_SetPriority(EXTI3_IRQn, 0, 0);
  HAL_NVIC_EnableIRQ(EXTI3_IRQn);

  HAL_NVIC_SetPriority(EXTI15_10_IRQn, 0, 0);
  HAL_NVIC_EnableIRQ(EXTI15_10_IRQn);

}

/* USER CODE BEGIN 4 */

static void drawAxis(ILI9341TypeDef *display)
{
	for (uint16_t i = 0; i < 9; i++) {
		uint16_t y = 20 + 25 * i;

		if (i == 0 || i == 8) {
			ILI9341_FillRectangle(display, 20, y, 276, 1, ILI9341_WHITE);
			continue;
		}

		for (uint16_t j = 0; j < 276; j += 2)
			ILI9341_DrawPixel(display, 20 + j, y, ILI9341_GRAY);
	}

	for (uint16_t i = 0; i < 12; i++) {
		uint16_t x = 20 + 25 * i;

		if (i == 0 || i == 11) {
			ILI9341_FillRectangle(display, x, 20, 1, 200, ILI9341_WHITE);
			continue;
		}

		for (uint16_t j = 0; j < 200; j += 2)
			ILI9341_DrawPixel(display, x, 20 + j, ILI9341_GRAY);
	}
}

static void clearCursor(ILI9341TypeDef *display, uint16_t pos)
{
	ILI9341_FillRectangle(display, 0, pos - 6, 20, 11, ILI9341_BLACK);
}

static void clearTrigger(ILI9341TypeDef *display, uint16_t pos)
{
	ILI9341_FillRectangle(display, 296, pos - 6, 20, 11, ILI9341_BLACK);
}

static void drawCursor(ILI9341TypeDef *display, uint16_t pos, char *name, uint16_t color)
{
	ILI9341_FillRectangle(display, 0, pos - 6, 7 * 2, 1, color);
	ILI9341_WriteString(display, 0, pos - 5, name, Font_7x10, ILI9341_BLACK, color);

	for (uint8_t i = 0; i < 6; i++) {
		for (uint8_t j = i; j < 11 - i; j++)
			ILI9341_DrawPixel(display, 14 + i, pos - 6 + j, color);
	}
}

static void drawTrigger(ILI9341TypeDef *display, uint16_t pos, char *name, uint16_t color)
{
	ILI9341_FillRectangle(display, 302, pos - 6, 7 * 2, 1, color);
	ILI9341_WriteString(display, 302, pos - 5, name, Font_7x10, ILI9341_BLACK, color);

	for (uint8_t i = 0; i < 6; i++) {
		for (uint8_t j = i; j < 11 - i; j++)
			ILI9341_DrawPixel(display, 301 - i, pos - 6 + j, color);
	}
}

static void drawSignal(ILI9341TypeDef *display, uint32_t *adc_time, uint16_t *adc0, uint32_t adc_length, uint16_t pixel_dirty[280][2], uint16_t cursor, uint16_t color)
{
	uint16_t point[280];
	for (uint16_t i = 0; i < 280; i++)
		point[i] = 0;

	for (uint16_t i = 0; i < adc_length; i++) {

		float uV = (float)(adc0[i]) * 3300000.0f / 4096.0f;
		uint16_t x = (float)(adc_time[i]) * 280.0f / (float)(12.0f * xlim_us);
		uint16_t y = cursor - ((uV / (float)(ylim_uV)) * 200.0f / 8.0f);

		if (x < 0)
			x = 0;

		if (x > 274)
			x = 274;

		if (y < 21)
			y = 21;

		if (y > 219)
			y = 219;

		point[x] += (float)(y - point[x]) * 1.0f;
	}

	uint16_t pixel[280][2];
	for (uint16_t i = 0; i < 280; i++) {
		pixel[i][0] = 220;
		pixel[i][1] = 20;
	}

	for (uint16_t i = 1; i <= 279; i++) {

		if (point[i] == 0)
			continue;

		int16_t x1 = i;
		int16_t x0 = x1 - 1;

		for (; x0 >= 0; x0--) {
			if (point[x0] != 0)
				break;
		}

		if (x0 == 0 && point[x0] == 0)
			return;

		int16_t y0 = point[x0];
		int16_t y1 = point[x1];

		int16_t dx = (x1 - x0) > 0 ? (x1 - x0) : -(x1 - x0);
		int16_t sx = x0 < x1 ? 1 : -1;
		int16_t dy = (y1 - y0) > 0 ? -(y1 - y0) : (y1 - y0);
		int16_t sy = y0 < y1 ? 1 : -1;
		int16_t error = dx + dy;

		while (1) {

			if (pixel[x0][0] > y0)
				pixel[x0][0] = y0;

			if (pixel[x0][1] < y0)
				pixel[x0][1] = y0;

			if (x0 == x1 && y0 == y1)
				break;

			int16_t e2 = 2 * error;

			if (e2 >= dy) {
				if (x0 == x1)
					break;

				error = error + dy;
				x0 = x0 + sx;
			}

			if (e2 <= dx) {
				if (y0 == y1)
					break;

				error = error + dx;
				y0 = y0 + sy;
			}
		}
	}

	for (uint16_t i = 1; i <= 279; i++) {
		uint16_t min = pixel[i][0] < pixel_dirty[i][0] ? pixel[i][0] : pixel_dirty[i][0];
		uint16_t max = pixel[i][1] > pixel_dirty[i][1] ? pixel[i][1] : pixel_dirty[i][1];

		for (uint16_t j = min; j <= max; j++) {
			uint8_t draw = 0;
			if (j >= pixel[i][0] && j <= pixel[i][1])
				draw = 1;

			uint8_t clear = 0;
			if (j >= pixel_dirty[i][0] && j <= pixel_dirty[i][1])
				clear = 1;

			if (draw && !clear && j > 21)
				ILI9341_DrawPixel(display, i + 20, j, color);

			if (!draw && clear) {
				if (((i % 25) == 0 && (j % 2) == 0) || ((i % 2) == 0 && ((j - 20) % 25) == 0))
					ILI9341_DrawPixel(display, i + 20, j,  ILI9341_GRAY);
				else
					ILI9341_DrawPixel(display, i + 20, j, ILI9341_BLACK);
			}
		}

		pixel_dirty[i][0] = pixel[i][0];
		pixel_dirty[i][1] = pixel[i][1];
	}
}

static void clearSignal(ILI9341TypeDef *display, uint16_t pixel_dirty[280][2])
{
	for (uint16_t i = 1; i <= 279; i++) {
		for (uint16_t j = pixel_dirty[i][0]; j <= pixel_dirty[i][1]; j++) {
			if (((i % 25) == 0 && (j % 2) == 0) || ((i % 2) == 0 && ((j - 20) % 25) == 0))
				ILI9341_DrawPixel(display, i + 20, j,  ILI9341_GRAY);
			else
				ILI9341_DrawPixel(display, i + 20, j, ILI9341_BLACK);
		}

		pixel_dirty[i][0] = 0;
		pixel_dirty[i][1] = 0;
	}
}

static void drawSignalParam(ILI9341TypeDef *display, char *string, size_t size, uint16_t adc_max, uint16_t adc_min, uint32_t adc_period)
{
	float max  = (float)(adc_max) * 3300000.0f / 4096.0f;
	float min  = (float)(adc_min) * 3300000.0f / 4096.0f;
	float freq = 1.0f / ((float)(adc_period) / 1000000.0f);
	char *max_postfix  = "";
	char *min_postfix  = "";
	char *freq_postfix = "";

	if (max >= 1000000.0f) {
		max /= 1000000.0f;
		max_postfix = " V";
	} else if (max >= 1000.0f) {
		max /= 1000.0f;
		max_postfix = "mV";
	} else
		max_postfix = "uV";

	if (min >= 1000000.0f) {
		min /= 1000000.0f;
		min_postfix = " V";
	} else if (min >= 1000.0f) {
		min /= 1000.0f;
		min_postfix = "mV";
	} else
		min_postfix = "uV";

	if (freq >= 1000000.0f) {
		freq /= 1000000.0f;
		freq_postfix = "MHz";
	} else if (freq >= 1000.0f) {
		freq /= 1000.0f;
		freq_postfix = "kHz";
	} else
		freq_postfix = " Hz";

	if (adc_period != 0)
		snprintf(string, size, "ampl:%3.1f%s~%3.1f%s freq:%3.0f%s  ", min, min_postfix, max, max_postfix, freq, freq_postfix);
	else
		snprintf(string, size, "ampl:%3.1f%s~%3.1f%s freq:??? Hz  ", min, min_postfix, max, max_postfix);

	ILI9341_WriteString(display, 98, 225, string, Font_7x10, ILI9341_WHITE, ILI9341_BLACK);
}

/* USER CODE END 4 */

void Error_Handler(void)
{
  /* USER CODE BEGIN Error_Handler_Debug */
  /* User can add his own implementation to report the HAL error return state */
  __disable_irq();
  while (1)
  {
	  ILI9341_WriteString(&display, 0, 0, "Critical error!", Font_11x18, ILI9341_BLACK, ILI9341_RED);
  }
  /* USER CODE END Error_Handler_Debug */
}
